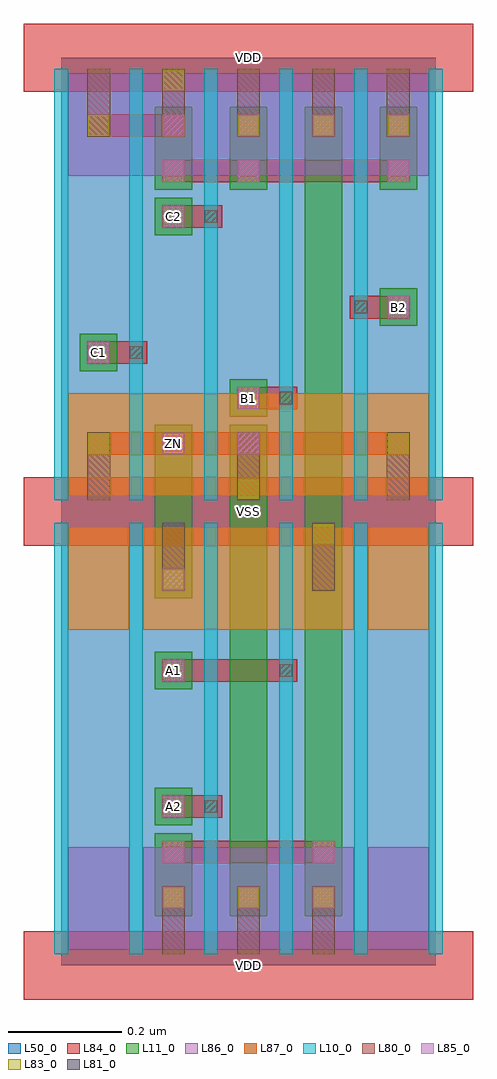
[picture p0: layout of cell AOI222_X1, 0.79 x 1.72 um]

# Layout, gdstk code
import gdstk
lib = gdstk.Library(unit=1e-6, precision=1e-09)
def R(c, l, rs):  # rectangles x0, y0, x1, y1
    for r in rs: c.add(gdstk.rectangle(r[:2], r[2:], *l))
def A(c, l, x, y, w, h, nx, ny, dx, dy):  # array of equal rectangles
    R(c, l, [(x+i*dx, y+j*dy, x+i*dx+w, y+j*dy+h) for i in range(nx) for j in range(ny)])
L10_0 = (10, 0)
L11_0 = (11, 0)
L50_0 = (50, 0)
L80_0 = (80, 0)
L81_0 = (81, 0)
L83_0 = (83, 0)
L84_0 = (84, 0)
L85_0 = (85, 0)
L86_0 = (86, 0)
L87_0 = (87, 0)

aoi222_x1 = lib.new_cell('AOI222_X1')
A(aoi222_x1, L10_0, -0.012, 0.02, 0.024, 0.76, 6, 2, 0.132, 0.8)
R(aoi222_x1, L11_0, [(0.165,0.087,0.231,0.233), (0.297,0.087,0.363,0.953), (0.429,0.087,0.495,1.513), (0.165,0.247,0.231,0.313), (0.165,0.487,0.231,0.553), (0.165,0.647,0.231,0.953), (0.297,0.967,0.363,1.033), (0.033,1.047,0.099,1.113), (0.561,1.127,0.627,1.193), (0.165,1.287,0.231,1.353), (0.165,1.367,0.231,1.513), (0.297,1.367,0.363,1.513), (0.561,1.367,0.627,1.513)])
R(aoi222_x1, L50_0, [(0,0,0.66,1.6)])
A(aoi222_x1, L80_0, 0.178, 0.02, 0.04, 0.12, 3, 1, 0.132, 0)
A(aoi222_x1, L80_0, 0.046, 0.82, 0.04, 0.12, 3, 1, 0.264, 0)
A(aoi222_x1, L80_0, 0.046, 1.46, 0.04, 0.12, 5, 1, 0.132, 0)
R(aoi222_x1, L80_0, [(0.178,0.66,0.218,0.78), (0.442,0.66,0.482,0.78)])
R(aoi222_x1, L81_0, [(0.253,0.269,0.275,0.291), (0.385,0.509,0.407,0.531), (0.385,0.989,0.407,1.011), (0.121,1.069,0.143,1.091), (0.517,1.149,0.539,1.171), (0.253,1.309,0.275,1.331)])
A(aoi222_x1, L83_0, 0.18, 0.102, 0.036, 0.036, 3, 1, 0.132, 0)
A(aoi222_x1, L83_0, 0.312, 1.462, 0.036, 0.036, 3, 1, 0.132, 0)
R(aoi222_x1, L83_0, [(0.18,0.662,0.216,0.698), (0.444,0.742,0.48,0.778), (0.312,0.822,0.348,0.858), (0.048,0.902,0.084,0.938), (0.576,0.902,0.612,0.938), (0.048,1.462,0.084,1.498), (0.18,1.542,0.216,1.578)])
A(aoi222_x1, L84_0, -0.066, -0.06, 0.792, 0.12, 1, 3, 0, 0.8)
A(aoi222_x1, L84_0, 0.178, 0.1, 0.04, 0.04, 3, 1, 0.132, 0)
A(aoi222_x1, L84_0, 0.31, 1.46, 0.04, 0.04, 3, 1, 0.132, 0)
R(aoi222_x1, L84_0, [(0.178,0.18,0.482,0.22), (0.178,0.26,0.284,0.3), (0.178,0.5,0.416,0.54), (0.178,0.66,0.218,0.7), (0.046,0.9,0.614,0.94), (0.31,0.98,0.416,1.02), (0.046,1.06,0.152,1.1), (0.508,1.14,0.614,1.18), (0.178,1.3,0.284,1.34), (0.178,1.38,0.614,1.42), (0.046,1.46,0.218,1.5)])
A(aoi222_x1, L85_0, 0.179, 0.101, 0.038, 0.038, 3, 1, 0.132, 0)
A(aoi222_x1, L85_0, 0.179, 1.461, 0.038, 0.038, 4, 1, 0.132, 0)
R(aoi222_x1, L85_0, [(0.179,0.181,0.217,0.219), (0.443,0.181,0.481,0.219), (0.179,0.261,0.217,0.299), (0.179,0.501,0.217,0.539), (0.179,0.661,0.217,0.699), (0.179,0.901,0.217,0.939), (0.311,0.901,0.349,0.939), (0.311,0.981,0.349,1.019), (0.047,1.061,0.085,1.099), (0.575,1.141,0.613,1.179), (0.179,1.301,0.217,1.339), (0.179,1.381,0.217,1.419), (0.311,1.381,0.349,1.419), (0.575,1.381,0.613,1.419)])
R(aoi222_x1, L86_0, [(0.012,0.028,0.12,0.208), (0.144,0.028,0.516,0.208), (0.54,0.028,0.648,0.208), (0.012,1.392,0.648,1.572)])
R(aoi222_x1, L87_0, [(0.012,0.592,0.12,0.772), (0.144,0.592,0.516,0.772), (0.54,0.592,0.648,0.772), (0.012,0.828,0.648,1.008)])
aoi222_x1.add(gdstk.Label('VSS', (0.33,0.8), layer=88, texttype=0))
aoi222_x1.add(gdstk.Label('VDD', (0.33,0), layer=88, texttype=0))
aoi222_x1.add(gdstk.Label('VDD', (0.33,1.6), layer=88, texttype=0))
aoi222_x1.add(gdstk.Label('B2', (0.594,1.16), layer=31, texttype=0))
aoi222_x1.add(gdstk.Label('C2', (0.198,1.32), layer=31, texttype=0))
aoi222_x1.add(gdstk.Label('C1', (0.066,1.08), layer=31, texttype=0))
aoi222_x1.add(gdstk.Label('A1', (0.198,0.52), layer=31, texttype=0))
aoi222_x1.add(gdstk.Label('A2', (0.198,0.28), layer=31, texttype=0))
aoi222_x1.add(gdstk.Label('B1', (0.33,1), layer=31, texttype=0))
aoi222_x1.add(gdstk.Label('ZN', (0.198,0.92), layer=31, texttype=0))

lib.write_gds('AOI222_X1.gds')
